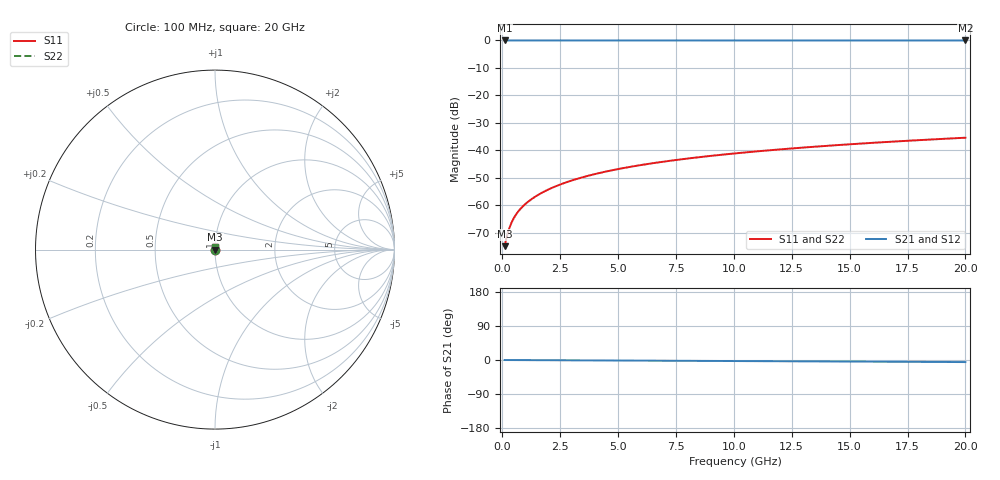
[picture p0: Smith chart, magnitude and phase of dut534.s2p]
! Touchstone file exported from HFSS 2026.1.0
!  File:  C:/ffzhzh/LocalFiles/Ansys_Project_Files/temp_train_TSV_534_1783023855_46388.aedt
!  Generated:  04:26:18 AM Jul  3, 2026
!  Design:  TSV
!  Project:  temp_train_TSV_534_1783023855_46388
! Variables:
!  h_bsmrdl = 2um
!  h_ox = 20um
!  h_rdl = 5um
!  h_sub = 50.73um
!  h_tmrdl = 5um
!  h_tsv = 50.73um
!  h_via = 3um
!  l_bsmrdl = 300um
!  l_sub = 415.4um
!  l_tmrdl = 200um
!  m_sub = 200um
!  pitch = 37.81um
!  r_tsv = 7.7um
!  s_tmrdl = 10um
!  w_bsmrdl = 18um
!  w_sub = 500um
!  w_tmrdl = 12um
!  x_tsv_center1 = 206um
!  x_tsv_center2 = 524um
!  x_tsv_center3 = 736um
!  x_tsv_center4 = 1054um
!  x_tsv_center5 = 1266um
!  x_tsv_center6 = 1584um
# GHz S MA R 50.000000
! Terminal data exported
! Port[1] = TSV1_1_T1
! Port[2] = TSV1_1_T2
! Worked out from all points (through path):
!   200 points, 100 MHz to 20 GHz, reference 50 ohm
!   highest |S21| = 0.00 dB at 100 MHz (marker M1); lowest = 0.0 dB at 20 GHz (marker M2)
!   lowest |S11| = -74.9 dB at 100 MHz (marker M3), VSWR 1.00, Z = 50 + j0.0117 ohm
!   |S11| at or under -10 dB: start of sweep to end of sweep
!   |S22| runs from -74.9 to -35.4 dB; largest |S21 - S12| = 3.5e-15
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0.1  0.0001789 40.9  0.9999 -0.0  0.9999 -0.0  0.0001789 40.9
! Gamma 0 0 0 0
! Port Impedance 50 0 50 0
0.2  0.0002733 58.1  0.9999 -0.1  0.9999 -0.1  0.0002733 58.1
0.3  0.0003777 65.2  0.9998 -0.1  0.9998 -0.1  0.0003777 65.2
0.4  0.0004821 68.7  0.9998 -0.1  0.9998 -0.1  0.0004821 68.7
0.5  0.0005837 70.7  0.9998 -0.1  0.9998 -0.1  0.0005837 70.7
0.6  0.0006822 72.0  0.9998 -0.2  0.9998 -0.2  0.0006822 72.0
0.7  0.0007777 73.0  0.9998 -0.2  0.9998 -0.2  0.0007777 73.0
0.8  0.000871 73.8  0.9998 -0.2  0.9998 -0.2  0.000871 73.8
1  0.001053 75.1  0.9997 -0.3  0.9997 -0.3  0.001053 75.1
1.4  0.001408 77.1  0.9997 -0.4  0.9997 -0.4  0.001408 77.1
1.7  0.001672 78.2  0.9997 -0.5  0.9997 -0.5  0.001672 78.2
2  0.001936 79.1  0.9996 -0.6  0.9996 -0.6  0.001936 79.1
2.7  0.002551 80.4  0.9996 -0.8  0.9996 -0.8  0.002551 80.4
3.5  0.003249 81.2  0.9996 -1.0  0.9996 -1.0  0.003249 81.2
4.2  0.003854 81.6  0.9995 -1.2  0.9995 -1.2  0.003854 81.6
5  0.004539 81.9  0.9995 -1.4  0.9995 -1.4  0.004539 81.9
6.8  0.006059 82.2  0.9994 -1.9  0.9994 -1.9  0.006059 82.2
8.3  0.007311 82.3  0.9993 -2.3  0.9993 -2.3  0.007311 82.3
10.1  0.008804 82.2  0.9992 -2.8  0.9992 -2.8  0.008804 82.3
13.4  0.01153 82.0  0.9991 -3.7  0.9991 -3.7  0.01153 82.0
16.7  0.01423 81.5  0.9989 -4.6  0.9989 -4.6  0.01423 81.5
20  0.01691 80.9  0.9988 -5.5  0.9988 -5.5  0.01691 80.9
